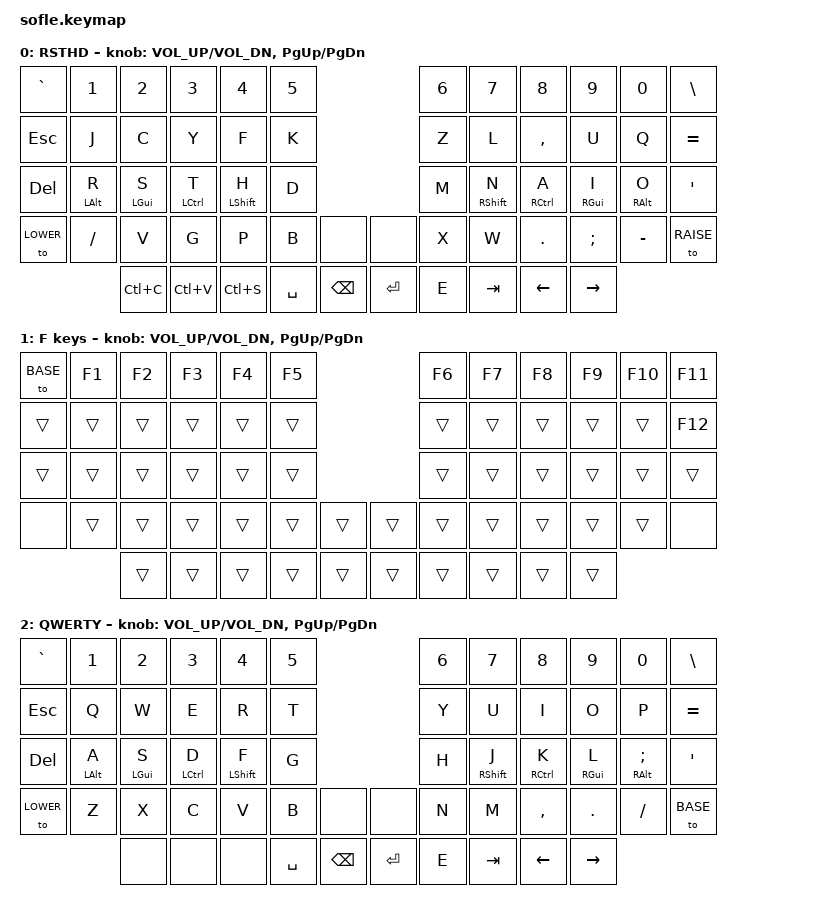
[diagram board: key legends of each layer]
// RSTHD keyboard layout
// https://xsznix.wordpress.com/2016/05/16/introducing-the-rsthd-layout/

#include <behaviors.dtsi>
#include <dt-bindings/zmk/keys.h>
#include <dt-bindings/zmk/bt.h>
#include <dt-bindings/zmk/rgb.h>
#include <dt-bindings/zmk/ext_power.h>

#define BASE 0
#define LOWER 1
#define RAISE 2
#define ADJUST 3

/ {
    keymap {
        compatible = "zmk,keymap";

        default_layer {
            display-name = "RSTHD";
            bindings = <
&kp GRAVE  &kp N1      &kp N2      &kp N3       &kp N4       &kp N5                          &kp N6  &kp N7       &kp N8       &kp N9      &kp N0         &kp BSLH
&kp ESC    &kp J       &kp C       &kp Y        &kp F        &kp K                           &kp Z   &kp L        &kp COMMA    &kp U       &kp Q          &kp EQUAL
&kp DEL    &mt LALT R  &mt LGUI S  &mt LCTRL T  &mt LSHFT H  &kp D                           &kp M   &mt RSHFT N  &mt RCTRL A  &mt RGUI I  &mt RALT O     &kp SQT
&to LOWER  &kp FSLH    &kp V       &kp G        &kp P        &kp B      &none     &none      &kp X   &kp W        &kp DOT      &kp SEMI    &kp MINUS      &to RAISE
                       &kp LC(C)   &kp LC(V)    &kp LC(S)    &kp SPACE  &kp BSPC  &kp ENTER  &kp E   &kp TAB      &kp LEFT     &kp RIGHT
            >;

            sensor-bindings = <&inc_dec_kp C_VOL_UP C_VOL_DN &inc_dec_kp PG_UP PG_DN>;
        };

        lower_layer {
            display-name = "F keys";
            bindings = <
&to BASE   &kp F1      &kp F2     &kp F3       &kp F4       &kp F5                          &kp F6  &kp F7       &kp F8       &kp F9      &kp F10        &kp F11
&trans     &trans      &trans     &trans       &trans       &trans                          &trans  &trans       &trans       &trans      &trans         &kp F12
&trans     &trans      &trans     &trans       &trans       &trans                          &trans  &trans       &trans       &trans      &trans         &trans
&none      &trans      &trans     &trans       &trans       &trans     &trans    &trans     &trans  &trans       &trans       &trans      &trans         &none
                       &trans     &trans       &trans       &trans     &trans    &trans     &trans  &trans       &trans       &trans     
            >;

            sensor-bindings = <&inc_dec_kp C_VOL_UP C_VOL_DN &inc_dec_kp PG_UP PG_DN>;
        };

        raise_layer {
            display-name = "QWERTY";
            bindings = <
&kp GRAVE  &kp N1      &kp N2      &kp N3       &kp N4       &kp N5                          &kp N6  &kp N7       &kp N8       &kp N9      &kp N0         &kp BSLH
&kp ESC    &kp Q       &kp W       &kp E        &kp R        &kp T                           &kp Y   &kp U        &kp I        &kp O       &kp P          &kp EQUAL
&kp DEL    &mt LALT A  &mt LGUI S  &mt LCTRL D  &mt LSHFT F  &kp G                           &kp H   &mt RSHFT J  &mt RCTRL K  &mt RGUI L  &mt RALT SEMI  &kp SQT
&to LOWER  &kp Z       &kp X       &kp C        &kp V        &kp B      &none     &none      &kp N   &kp M        &kp COMMA    &kp DOT     &kp FSLH       &to BASE
                       &none       &none        &none        &kp SPACE  &kp BSPC  &kp ENTER  &kp E   &kp TAB      &kp LEFT     &kp RIGHT
            >;

            sensor-bindings = <&inc_dec_kp C_VOL_UP C_VOL_DN &inc_dec_kp PG_UP PG_DN>;
        };
    };
};
